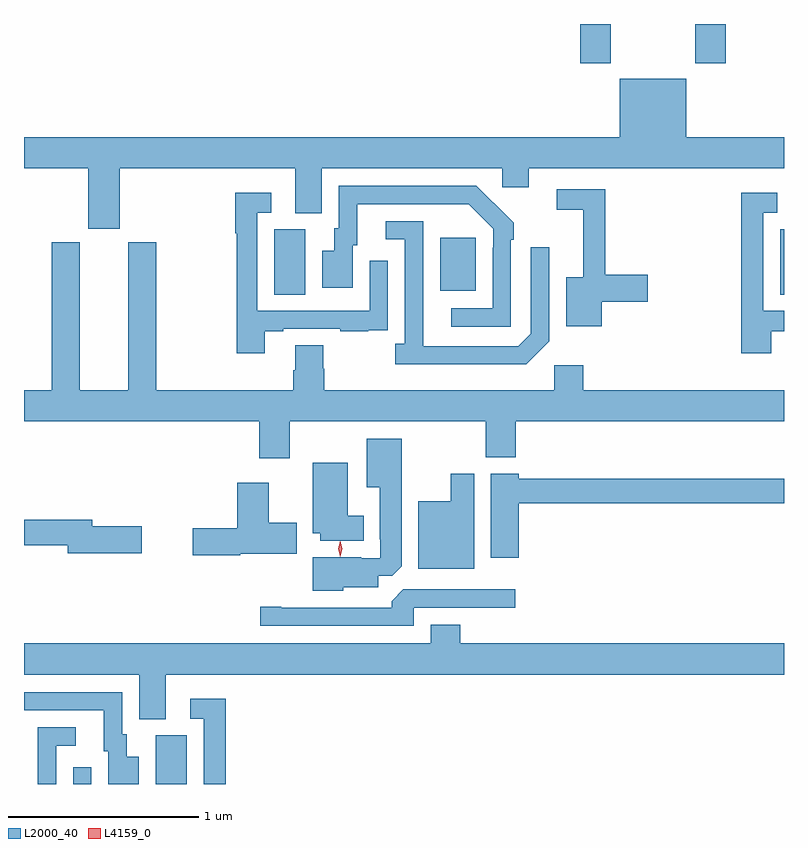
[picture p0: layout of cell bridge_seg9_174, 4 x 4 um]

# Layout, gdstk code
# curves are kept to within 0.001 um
import gdstk
lib = gdstk.Library(unit=1e-6, precision=1e-09)
def R(c, l, rs):  # rectangles x0, y0, x1, y1
    for r in rs: c.add(gdstk.rectangle(r[:2], r[2:], *l))
def P(c, l, *ps):  # polygons
    for p in ps: c.add(gdstk.Polygon(p, *l))
L2000_40 = (2000, 40)
L4159_0 = (4159, 0)

bridge_seg9_174 = lib.new_cell('bridge_seg9_174')
R(bridge_seg9_174, L2000_40, [(168.924,1231.808,169.02,1231.897), (169.358,1231.808,169.522,1232.064), (169.982,1234.384,170.146,1234.728), (172.646,1234.384,172.665,1234.728), (170.855,1234.403,171.043,1234.684), (171.593,1235.601,171.753,1235.808), (172.198,1235.601,172.358,1235.808)])
P(bridge_seg9_174, L2000_40, [(169.168,1235.048),(170.093,1235.048),(170.093,1234.813),(170.233,1234.813),(170.233,1235.048),(171.183,1235.048),(171.183,1234.95),(171.322,1234.95),(171.322,1235.048),(172.665,1235.048),(172.665,1235.212),(172.15,1235.212),(172.15,1235.521),(171.8,1235.521),(171.8,1235.212),(168.665,1235.212),(168.665,1235.048),(169.004,1235.048),(169.004,1234.731),(169.168,1234.731)],
  [(171.228,1234.673),(171.243,1234.673),(171.243,1234.761),(171.046,1234.956),(170.322,1234.956),(170.322,1234.734),(170.297,1234.734),(170.297,1234.615),(170.234,1234.615),(170.234,1234.419),(170.395,1234.419),(170.395,1234.644),(170.419,1234.644),(170.419,1234.86),(171.007,1234.86),(171.135,1234.731),(171.135,1234.631),(171.132,1234.631),(171.132,1234.311),(170.913,1234.311),(170.913,1234.215),(171.228,1234.215)],
  [(171.706,1234.345),(171.949,1234.345),(171.949,1234.487),(171.725,1234.487),(171.725,1234.938),(171.468,1234.938),(171.468,1234.83),(171.608,1234.83),(171.608,1234.474),(171.518,1234.474),(171.518,1234.217),(171.706,1234.217)],
  [(169.933,1234.191),(170.029,1234.191),(170.029,1234.203),(170.329,1234.203),(170.329,1234.191),(170.477,1234.191),(170.477,1234.197),(170.579,1234.197),(170.579,1234.306),(170.58,1234.306),(170.58,1234.561),(170.484,1234.561),(170.484,1234.299),(169.893,1234.299),(169.893,1234.815),(169.966,1234.815),(169.966,1234.921),(169.777,1234.921),(169.777,1234.708),(169.785,1234.708),(169.785,1234.074),(169.933,1234.074)],
  [(172.597,1234.191),(172.665,1234.191),(172.665,1234.299),(172.557,1234.299),(172.557,1234.815),(172.63,1234.815),(172.63,1234.921),(172.441,1234.921),(172.441,1234.074),(172.597,1234.074)],
  [(171.429,1234.137),(171.429,1234.633),(171.333,1234.633),(171.333,1234.179),(171.267,1234.113),(170.766,1234.113),(170.766,1234.77),(170.568,1234.77),(170.568,1234.674),(170.67,1234.674),(170.67,1234.126),(170.619,1234.126),(170.619,1234.016),(171.308,1234.016)],
  [(170.064,1233.716),(171.094,1233.716),(171.094,1233.527),(171.254,1233.527),(171.254,1233.716),(172.665,1233.716),(172.665,1233.88),(171.608,1233.88),(171.608,1234.012),(171.456,1234.012),(171.456,1233.88),(170.246,1233.88),(170.246,1233.993),(170.241,1233.993),(170.241,1234.118),(170.093,1234.118),(170.093,1233.986),(170.081,1233.986),(170.081,1233.88),(169.362,1233.88),(169.362,1234.659),(169.214,1234.659),(169.214,1233.88),(168.958,1233.88),(168.958,1234.659),(168.811,1234.659),(168.811,1233.88),(168.665,1233.88),(168.665,1233.716),(169.904,1233.716),(169.904,1233.522),(170.064,1233.522)],
  [(170.346,1232.843),(170.53,1232.843),(170.53,1232.904),(170.604,1232.904),(170.653,1232.953),(170.653,1233.625),(170.468,1233.625),(170.468,1233.371),(170.537,1233.371),(170.537,1233.097),(170.541,1233.097),(170.541,1232.997),(170.441,1232.997),(170.441,1233.001),(170.186,1233.001),(170.186,1232.825),(170.346,1232.825)],
  [(170.452,1233.22),(170.368,1233.22),(170.368,1233.499),(170.186,1233.499),(170.186,1233.128),(170.225,1233.128),(170.225,1233.089),(170.452,1233.089)],
  [(171.034,1233.442),(170.912,1233.442),(170.912,1233.295),(170.741,1233.295),(170.741,1232.942),(171.034,1232.942)],
  [(171.269,1233.286),(172.665,1233.286),(172.665,1233.415),(171.269,1233.415),(171.269,1233.442),(171.122,1233.442),(171.122,1233),(171.269,1233)],
  [(169.803,1233.02),(170.101,1233.02),(170.101,1233.183),(169.954,1233.183),(169.954,1233.394),(169.787,1233.394),(169.787,1233.155),(169.554,1233.155),(169.554,1233.013),(169.803,1233.013)],
  [(169.285,1233.164),(169.024,1233.164),(169.024,1233.2),(168.665,1233.2),(168.665,1233.064),(168.896,1233.064),(168.896,1233.022),(169.285,1233.022)],
  [(170.715,1232.736),(171.25,1232.736),(171.25,1232.832),(170.661,1232.832),(170.6,1232.77),(170.6,1232.736),(170.02,1232.736),(170.02,1232.741),(169.908,1232.741),(169.908,1232.64),(170.715,1232.64)],
  [(169.411,1232.384),(172.665,1232.384),(172.665,1232.548),(170.96,1232.548),(170.96,1232.647),(170.807,1232.647),(170.807,1232.548),(168.665,1232.548),(168.665,1232.384),(169.271,1232.384),(169.271,1232.149),(169.411,1232.149)],
  [(169.27,1231.951),(169.207,1231.951),(169.207,1232.07),(169.182,1232.07),(169.182,1232.292),(168.665,1232.292),(168.665,1232.196),(169.085,1232.196),(169.085,1231.98),(169.109,1231.98),(169.109,1231.808),(169.27,1231.808)],
  [(169.727,1232.257),(169.539,1232.257),(169.539,1232.151),(169.611,1232.151),(169.611,1231.808),(169.727,1231.808)],
  [(168.834,1232.01),(168.937,1232.01),(168.937,1232.106),(168.738,1232.106),(168.738,1231.808),(168.834,1231.808)])
P(bridge_seg9_174, L4159_0, [(170.33,1233.004),(170.33,1233.004),(170.32,1233.045),(170.33,1233.086),(170.33,1233.086),(170.33,1233.086),(170.34,1233.045),(170.33,1233.004)])

lib.write_gds('bridge_seg9_174.gds')
